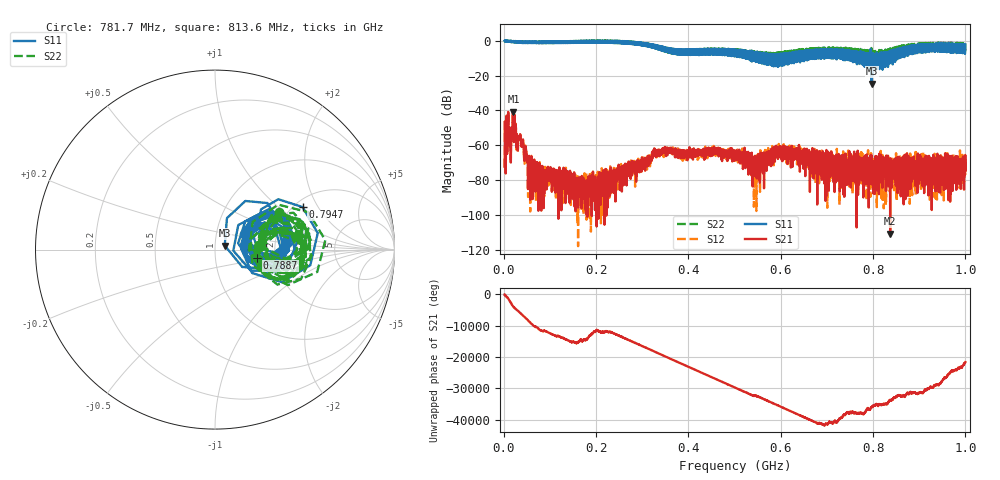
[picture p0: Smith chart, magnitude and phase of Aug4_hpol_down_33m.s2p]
!Keysight Technologies N9923A: A.12.45
!Date: Tuesday, 05 August 2025 18:45:54
!Timezone: (UTC+08:00) Kuala Lumpur, Singapore
!Model: N9923A
!Serial: MY61181427
!GPS Latitude:
!GPS Longitude:
!GPS TimeStamp: 0001-01-01 00:00:00Z
!GPS Seconds Since Last Read: 0
!CHECKSUM:0962161759
!Correction: S11(ON U)S21(ON U)S12(ON U)S22(ON U)
!S2P File: Measurements:S11,S21,S12,S22:
# Hz S DB R 50
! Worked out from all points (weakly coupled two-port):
!   4001 points, 2 MHz to 1 GHz, reference 50 ohm
!   highest |S21| = -40.68 dB at 21.21 MHz (marker M1); lowest = -110.8 dB at 837.1 MHz (marker M2)
!   lowest |S11| = -24.6 dB at 796.9 MHz (marker M3), VSWR 1.13, Z = 55.7 + j2.55 ohm
!   |S11| at or under -10 dB: 575.8175 MHz to 576.6369 MHz (819.4 kHz wide, 0.142 % of centre); 582.5682 MHz to 583.3878 MHz (819.6 kHz wide, 0.141 % of centre); 584.2229 MHz to 585.1025 MHz (879.6 kHz wide, 0.15 % of centre)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
!   |S22| runs from -14.5 to 0.1 dB; largest |S21 - S12| = 0.001
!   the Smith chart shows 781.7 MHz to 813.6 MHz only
!   S11 on the Smith chart (normalised r, x): 781.7 MHz: 1.35, +0.24; 788.7 MHz: 1.61, -0.16; 794.7 MHz: 2.22, +1.49; 813.6 MHz: 1.38, +0.27
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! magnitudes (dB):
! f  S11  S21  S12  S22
! 2 MHz  -0.1  -72.4  -72.5  -0.1
! 7.489 MHz  -0.5  -65.0  -64.9  -0.5
! 21.21 MHz  -0.6  -40.7  -40.7  -0.7
! 38.18 MHz  -0.6  -60.0  -60.0  -0.6
! 54.15 MHz  -1.2  -69.6  -68.9  -1.2
! 66.37 MHz  -1.1  -70.3  -69.6  -1.1
! 168.4 MHz  -1.2  -80.9  -92.6  -1.0
! 238 MHz  -0.2  -82.1  -83.2  -0.1
! 334.8 MHz  -4.0  -63.8  -64.9  -4.6
! 501 MHz  -6.0  -65.0  -66.2  -6.8
! 544.7 MHz  -7.7  -67.4  -73.6  -9.9
! 594.1 MHz  -7.5  -63.3  -63.9  -7.0
! 667.4 MHz  -9.0  -66.4  -72.0  -8.5
! 730 MHz  -6.1  -67.1  -71.1  -7.2
! 781.7 MHz  -14.9  -73.5  -65.6  -7.6
! 788.7 MHz  -12.4  -68.0  -76.0  -11.2
! 794.7 MHz  -5.3  -67.9  -70.8  -6.8
! 796.9 MHz  -24.6  -76.8  -77.6  -7.3
! 813.6 MHz  -14.2  -69.1  -67.8  -6.4
! 833.8 MHz  -9.7  -81.3  -80.3  -5.5
! 837.1 MHz  -8.1  -110.8  -70.6  -4.4
! 1 GHz  -2.2  -74.5  -73.7  -2.9
